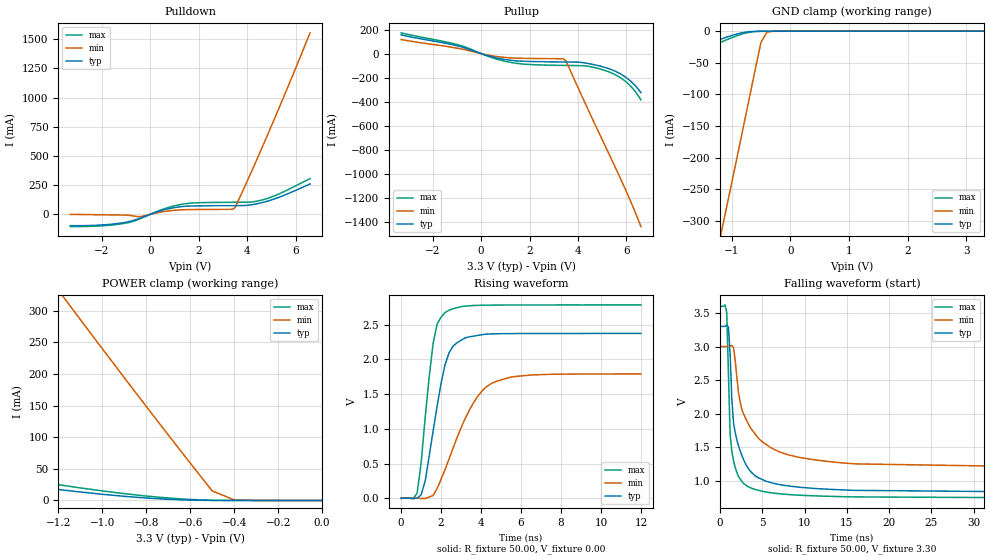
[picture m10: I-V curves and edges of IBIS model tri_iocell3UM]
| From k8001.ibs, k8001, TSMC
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|   Model tri_iocell3UM
[Model]   tri_iocell3UM
Model_type   I/O
Polarity   Non-Inverting
Enable   Active-Low
Vinl =   0.80V
Vinh =   2.00V
Vmeas =  1.50V
C_comp   2.75e-12F   2.92e-12F   2.69e-12F
[Temperature Range]   25   125   0
[Voltage Range]   3.30V   3.00V   3.60V
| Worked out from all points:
|   slope of the pulldown table from 0 to 0.495 V, typ, clamps not added: 14.5 ohm
|   slope of the pullup table from 0 to 0.495 V, typ, clamps not added: 16.8 ohm
|   GND clamp passes 1 mA (typ) near -0.70 V on its own axis
|   POWER clamp passes 1 mA (typ) near -0.63 V on its own axis
|   rising waveform, R_fixture 50.00, V_fixture 0.00: 20-80 % time 850ps typ, 1.63ns min, 583ps max; typ from 0 V to 2.37 V
|   falling waveform, R_fixture 50.00, V_fixture 3.30: 20-80 % time 1.59ns typ, 3.65ns min, 686ps max; typ from 3.3 V to 0.811 V
[POWER_clamp]
| voltage   I(typ)   I(min)   I(max)
-3.3V     141.8mA    1.34A      171.6mA
-2.8V     106.5mA    1.095A     131.4mA
-2.2V     68.79mA    805.3mA    87.66mA
-1.7V     40.91mA    567.2mA    54.38mA
-1.2V     17.38mA    332.7mA    25.04mA
-1.1V     13.41mA    286.3mA    19.91mA
-800mV    3.914mA    148.8mA    7.021mA
-600mV    574.4uA    59.23mA    1.576mA
-500mV    107.2uA    15.15mA    331.7uA
-400mV    35.58uA    884.2uA    51.54uA
0V        113.5nA    123.6nA    127.7nA
[GND_clamp]
| voltage   I(typ)   I(min)   I(max)
-3.3V     -87.3mA    -1.184A    -99.57mA
-2.4V     -57.18mA   -832.6mA   -67.65mA
-1.2V     -13.31mA   -328mA     -18.17mA
-1.1V     -10.05mA   -284.1mA   -14.23mA
-800mV    -2.245mA   -150.9mA   -4.036mA
-700mV    -983.2uA   -106.1mA   -1.853mA
-500mV    -322.7uA   -17.68mA   -366.6uA
-400mV    -291.1uA   -1.793mA   -316.8uA
-200mV    -274.2uA   -255.8uA   -297.7uA
3.3V      113.5nA    70.42uA    -23.38uA
[Pullup]
| voltage   I(typ)   I(min)   I(max)
-3.3V     155.9mA    116.7mA    172.8mA
-1V       65.31mA    45.32mA    75.49mA
300mV     -19.02mA   -12.93mA   -23.64mA
1.1V      -52.77mA   -34.3mA    -68.75mA
1.9V      -64.84mA   -40.14mA   -89.64mA
3.3V      -69.79mA   -42.95mA   -98.34mA
3.5V      -70.17mA   -59.65mA   -98.93mA
4.4V      -81.78mA   -458.1mA   -105.1mA
5.4V      -135.1mA   -886.5mA   -162.7mA
5.8V      -174.1mA   -1.06A     -207mA
6.1V      -216.5mA   -1.195A    -256.2mA
6.6V      -324.8mA   -1.44A     -385.1mA
[Pulldown]
| voltage   I(typ)   I(min)   I(max)
-3.3V     -97.2mA    -1.057mA   -105.1mA
-2V       -91.17mA   -4.221mA   -98.61mA
-1V       -67.67mA   -6.83mA    -75mA
-400mV    -31.36mA   -19.78mA   -36.42mA
600mV     39.98mA    24.54mA    48.89mA
1.4V      67.82mA    39.27mA    89.06mA
3.4V      74.32mA    43.35mA    102.8mA
3.5V      74.44mA    56.86mA    103mA
4.2V      82.16mA    374.9mA    105.9mA
4.8V      110.2mA    658.7mA    133.6mA
5.4V      152.4mA    950.5mA    182.3mA
6.6V      259.7mA    1.554A     305.3mA
[Ramp]
| variable   typ   min   max
dV/dt_r   0.01/1.80e-09   0.01/4.58e-10   0.01/5.20e-10
dV/dt_f   1.50/1.57e-09   1.11/3.58e-09   1.73/6.48e-10
R_load = 50.00
[Rising Waveform]
R_fixture = 50.00
V_fixture = 0.00
V_fixture_min = 0.00
V_fixture_max = 0.00
| time   V(typ)   V(min)   V(max)
0s        2.572uV    2.343uV    2.803uV
800ps     1.517mV    2.057mV    74.79mV
1.2ns     244.9mV    -2.273mV   1.153V
1.6ns     968.1mV    41.41mV    2.232V
1.8ns     1.328V     140.8mV    2.507V
2.2ns     1.927V     415.9mV    2.675V
2.6ns     2.189V     724.6mV    2.728V
3.4ns     2.324V     1.262V     2.77V
4.6ns     2.367V     1.665V     2.78V
12ns      2.373V     1.79V      2.783V
[Falling Waveform]
R_fixture = 50.00
V_fixture = 3.30
V_fixture_min = 3.00
V_fixture_max = 3.60
| time   V(typ)   V(min)   V(max)
0s        3.3V       3V         3.6V
800ps     3.318V     3V         3.506V
1ns       3.291V     3.009V     2.595V
1.2ns     2.877V     3.015V     1.689V
1.4ns     2.217V     3.015V     1.437V
1.8ns     1.72V      2.792V     1.2V
2.6ns     1.375V     2.057V     990.7mV
4ns       1.092V     1.724V     877.8mV
15ns      862.7mV    1.262V     763.2mV
60ns      810.6mV    1.165V     734.2mV
